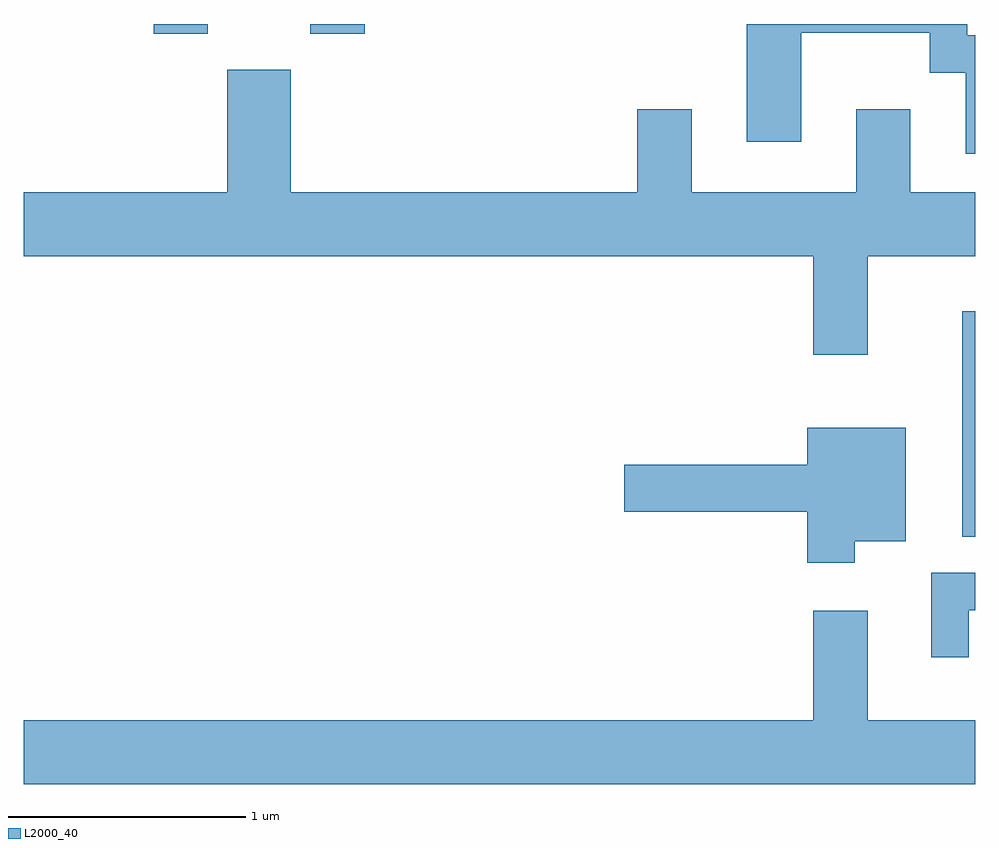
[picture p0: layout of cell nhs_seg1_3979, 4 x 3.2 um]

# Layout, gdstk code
import gdstk
lib = gdstk.Library(unit=1e-6, precision=1e-09)
def R(c, l, rs):  # rectangles x0, y0, x1, y1
    for r in rs: c.add(gdstk.rectangle(r[:2], r[2:], *l))
def P(c, l, *ps):  # polygons
    for p in ps: c.add(gdstk.Polygon(p, *l))
L2000_40 = (2000, 40)

nhs_seg1_3979 = lib.new_cell('nhs_seg1_3979')
R(nhs_seg1_3979, L2000_40, [(309.556,849.556,309.611,850.504), (306.156,851.671,306.384,851.712), (306.816,851.671,307.044,851.712)])
P(nhs_seg1_3979, L2000_40, [(309.611,851.664),(309.579,851.664),(309.579,851.712),(308.651,851.712),(308.651,851.216),(308.879,851.216),(308.879,851.676),(309.421,851.676),(309.421,851.506),(309.571,851.506),(309.571,851.166),(309.611,851.166)],
  [(309.159,850.736),(309.611,850.736),(309.611,851.004),(309.339,851.004),(309.339,851.354),(309.111,851.354),(309.111,851.004),(308.419,851.004),(308.419,851.354),(308.191,851.354),(308.191,851.004),(306.734,851.004),(306.734,851.519),(306.466,851.519),(306.466,851.004),(305.611,851.004),(305.611,850.736),(308.931,850.736),(308.931,850.321),(309.159,850.321)],
  [(309.104,849.536),(309.319,849.536),(309.319,850.014),(308.906,850.014),(308.906,849.859),(308.136,849.859),(308.136,849.661),(308.906,849.661),(308.906,849.446),(309.104,849.446)],
  [(309.584,849.246),(309.611,849.246),(309.611,849.404),(309.426,849.404),(309.426,849.048),(309.584,849.048)],
  [(309.611,848.784),(309.159,848.784),(309.159,849.244),(308.931,849.244),(308.931,848.784),(305.611,848.784),(305.611,848.516),(309.611,848.516)])

lib.write_gds('nhs_seg1_3979.gds')
